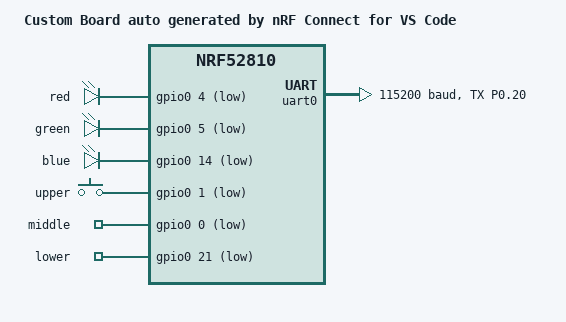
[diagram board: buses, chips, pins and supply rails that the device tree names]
/dts-v1/;
#include <nordic/nrf52810_qfaa.dtsi>
#include "CUST_HW_V_2-pinctrl.dtsi"

/ {
	model = "Custom Board auto generated by nRF Connect for VS Code";
	compatible = "custom,CUST-HW-V-2";

	chosen {
		zephyr,sram = &sram0;
		zephyr,flash = &flash0;
		zephyr,code-partition = &slot0_partition;
		zephyr,console =  &uart0;
	};

	leds {
		compatible = "gpio-leds";
		red: red {
			gpios = <&gpio0 4 GPIO_ACTIVE_LOW>;
			label = "red";
		};

		green: green {
			gpios = <&gpio0 5 GPIO_ACTIVE_LOW>;
			label = "green";
		};

		blue: blue {
			gpios = <&gpio0 14 GPIO_ACTIVE_LOW>;
			label = "blue";
		};
	};

	aliases {
		redled = &red;
		greenled = &green;
		blueled = &blue;
		upbutton = &upper;
		midbutton = &middle;
		lowbutton = &lower;
	};

	buttons {
		compatible = "gpio-keys";
		upper: upper {
			gpios = <&gpio0 1 (GPIO_ACTIVE_LOW | GPIO_PULL_UP)>;
			label = "upper";
		};
		middle: middle {
			gpios = <&gpio0 0 (GPIO_ACTIVE_LOW | GPIO_PULL_UP)>;
			label = "middle";
		};
		lower: lower {
			gpios = <&gpio0 21 (GPIO_ACTIVE_LOW | GPIO_PULL_UP)>;
			label = "lower";
		};
	};
};

&gpio0 {
	status = "okay";
};

&gpiote {
	status = "okay";
};

&uart0 {
	status = "okay";
	pinctrl-0 = <&uart0_default>;
	pinctrl-names = "default";
	disable-rx;
	compatible = "nordic,nrf-uart";
	current-speed = <115200>;
};

&pinctrl {
	uart0_default: uart0_default {
		group1 {
			psels = <NRF_PSEL(UART_TX, 0, 20)>;
		};
	};

};

&flash0 {
	partitions {
		compatible = "fixed-partitions";
		#address-cells = <1>;
		#size-cells = <1>;

		boot_partition: partition@0 {
			label = "mcuboot";
			reg = <0x00000000 DT_SIZE_K(48)>;
		};

		slot0_partition: partition@c000 {
			label = "image-0";
			reg = <0x0000c000 DT_SIZE_K(56)>;
		};

		slot1_partition: partition@1a000 {
			label = "image-1";
			reg = <0x0001a000 DT_SIZE_K(56)>;
		};

		storage_partition: partition@28000 {
			label = "storage";
			reg = <0x00028000 DT_SIZE_K(32)>;
		};

	};
};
